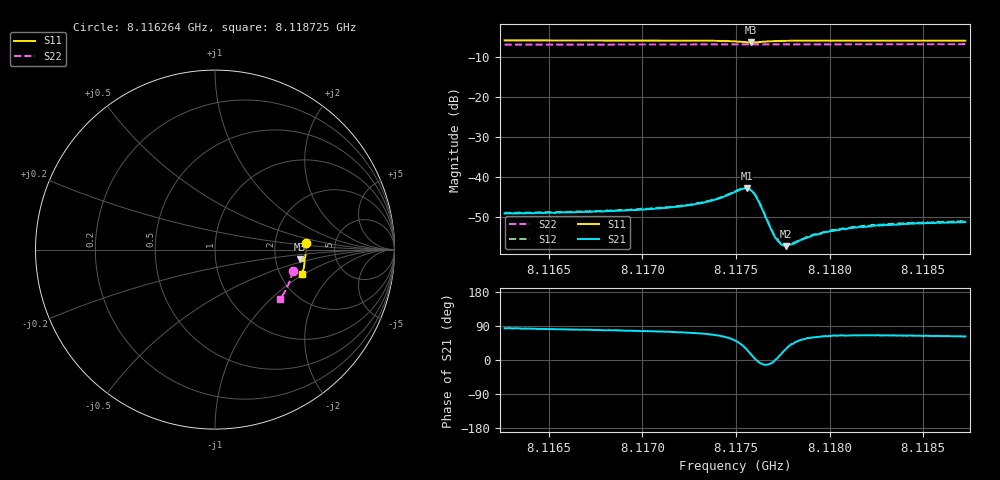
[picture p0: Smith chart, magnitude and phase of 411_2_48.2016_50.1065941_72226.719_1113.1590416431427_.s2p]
#  HZ  S  RI  R  50.00
! Rohde & Schwarz Vector Network Analyzer
! Rohde-Schwarz,ZNB20-2Port,1311601062101988,3.16
! Created: UTC 3/20/2024, 11:54:31 AM
! freq[Hz]  re:S11  im:S11  re:S21  im:S21  re:S12  im:S12  re:S22  im:S22
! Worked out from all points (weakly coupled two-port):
!   401 points, 8.116264 GHz to 8.118725 GHz, reference 50 ohm
!   highest |S21| = -42.77 dB at 8.117556 GHz (marker M1); lowest = -57.2 dB at 8.117765 GHz (marker M2)
!   lowest |S11| = -6.4 dB at 8.117581 GHz (marker M3), VSWR 2.84, Z = 139 - j19.6 ohm
!   |S11| at or under -10 dB: nowhere
!   |S22| runs from -6.9 to -6.8 dB; largest |S21 - S12| = 0.00021
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8.1162635e9  0.5055 0.0387  0.000379 0.00352  0.000428 0.00357  0.4334 -0.1189
8.1166758e9  0.5064 0.00758  0.000637 0.00364  0.000714 0.00371  0.426 -0.1468
8.1170882e9  0.505 -0.0247  0.00102 0.00394  0.00112 0.00406  0.4168 -0.1739
8.1172297e9  0.5034 -0.0365  0.00134 0.00422  0.00138 0.00429  0.4132 -0.1832
8.1173343e9  0.5013 -0.0461  0.00176 0.00458  0.00184 0.00466  0.4104 -0.19
8.1174082e9  0.4985 -0.0536  0.00236 0.00494  0.00247 0.00496  0.4083 -0.1948
8.1174944e9  0.4902 -0.0622  0.00412 0.00514  0.00421 0.00521  0.4053 -0.2004
8.1175313e9  0.4831 -0.0631  0.00549 0.00456  0.00566 0.00459  0.4041 -0.2028
8.1175559e9  0.4781 -0.0604  0.00641 0.00343  0.00656 0.00345  0.4034 -0.2038
8.1175805e9  0.4756 -0.0546  0.00664 0.0017  0.00678 0.00169  0.4025 -0.2051
8.117599e9  0.477 -0.0497  0.00611 0.000447  0.0062 0.000422  0.402 -0.2059
8.1176174e9  0.4806 -0.0468  0.00514 -0.000381  0.00528 -0.000413  0.4018 -0.2069
8.1176913e9  0.494 -0.0504  0.00213 -0.000286  0.00216 -0.000307  0.4003 -0.2117
8.1177098e9  0.4955 -0.0528  0.00176 2.38e-05  0.0018 -3.86e-05  0.3997 -0.213
8.1177405e9  0.4974 -0.0566  0.00141 0.000371  0.00144 0.000401  0.3988 -0.215
8.1177651e9  0.4981 -0.0597  0.00122 0.000667  0.00128 0.000686  0.3983 -0.2165
8.1178021e9  0.4985 -0.0638  0.00109 0.000991  0.00112 0.00102  0.3971 -0.219
8.1179067e9  0.4987 -0.074  0.000969 0.00161  0.000989 0.00163  0.3939 -0.2256
8.1180052e9  0.4977 -0.0825  0.000953 0.00192  0.00097 0.00193  0.3906 -0.2318
8.1180667e9  0.4971 -0.0877  0.000954 0.00207  0.00103 0.00208  0.3885 -0.2356
8.118319e9  0.4933 -0.1074  0.00109 0.0023  0.00109 0.00237  0.3796 -0.2509
8.1187252e9  0.4856 -0.1372  0.0013 0.00247  0.00134 0.00251  0.3641 -0.2749
